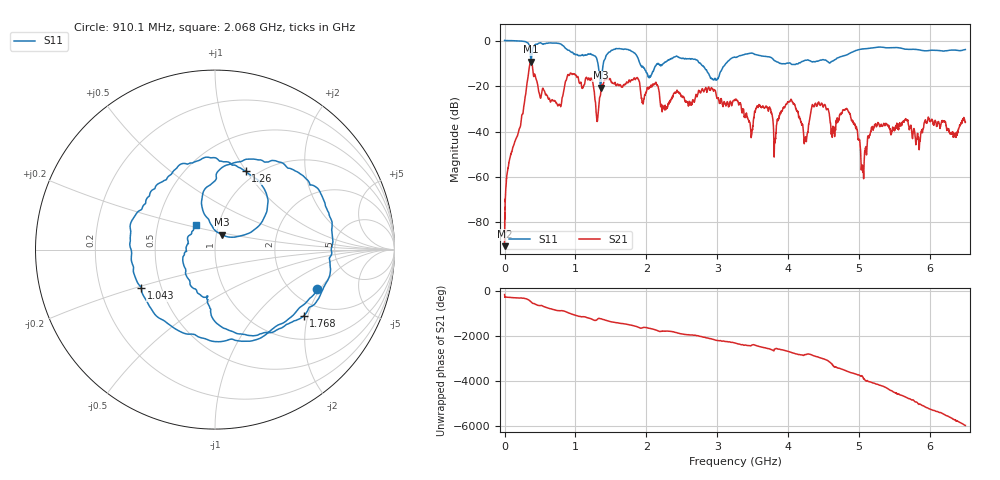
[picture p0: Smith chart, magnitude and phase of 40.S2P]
!Keysight Technologies,E5063A,MY54503115,A.05.08
!Date: Mon Dec 11 14:10:39 2023
!Data & Calibration Information:
!Freq	S11:NONE(--)	S21:NONE(--)	S12:NONE(--)	S22:NONE(--)
# Hz S dB R 50
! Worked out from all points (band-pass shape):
!   10001 points, 100 kHz to 6.5 GHz, reference 50 ohm
!   highest |S21| = -9.31 dB at 375.1 MHz (marker M1); lowest = -90.4 dB at 750 kHz (marker M2)
!   |S21| within 3 dB of the highest: 345.8 MHz to 396.2 MHz (50.38 MHz wide, 13.6 % of centre)
!   lowest |S11| = -20.7 dB at 1.353 GHz (marker M3), VSWR 1.20, Z = 53.4 + j8.91 ohm
!   |S11| at or under -10 dB: 1.908 GHz to 2.243 GHz (335.4 MHz wide, 16.2 % of centre); 2.761 GHz to 3.125 GHz (363.6 MHz wide, 12.4 % of centre); 4.034 GHz to 4.147 GHz (113.7 MHz wide, 2.78 % of centre) (the widest 3 of 7)
!   S12 and S22 are empty: the file has one direction only
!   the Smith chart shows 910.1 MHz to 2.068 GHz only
!   S11 on the Smith chart (normalised r, x): 910.1 MHz: 2.69, -1.89; 1.043 GHz: 0.39, -0.21; 1.26 GHz: 0.89, +1.00; 1.768 GHz: 1.58, -1.88; 2.068 GHz: 0.78, +0.22
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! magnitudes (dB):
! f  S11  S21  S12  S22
! 100 kHz  0.0  -88.5  -  -
! 750 kHz  0.0  -90.4  -  -
! 375.1 MHz  -8.7  -9.3  -  -
! 767.7 MHz  -1.3  -28.0  -  -
! 910.1 MHz  -4.3  -15.3  -  -
! 1.043 GHz  -6.7  -17.0  -  -
! 1.084 GHz  -6.5  -19.6  -  -
! 1.26 GHz  -6.6  -21.2  -  -
! 1.353 GHz  -20.7  -23.6  -  -
! 1.768 GHz  -4.2  -17.9  -  -
! 2.068 GHz  -15.2  -19.8  -  -
! 2.167 GHz  -10.0  -20.6  -  -
! 3.25 GHz  -7.3  -25.9  -  -
! 3.817 GHz  -8.9  -44.0  -  -
! 4.052 GHz  -10.5  -26.6  -  -
! 4.247 GHz  -8.6  -42.4  -  -
! 4.334 GHz  -9.3  -29.1  -  -
! 4.843 GHz  -6.1  -30.7  -  -
! 5.052 GHz  -3.7  -57.7  -  -
! 5.203 GHz  -3.2  -38.7  -  -
! 5.417 GHz  -3.2  -37.2  -  -
! 6.5 GHz  -3.9  -35.9  -  -
